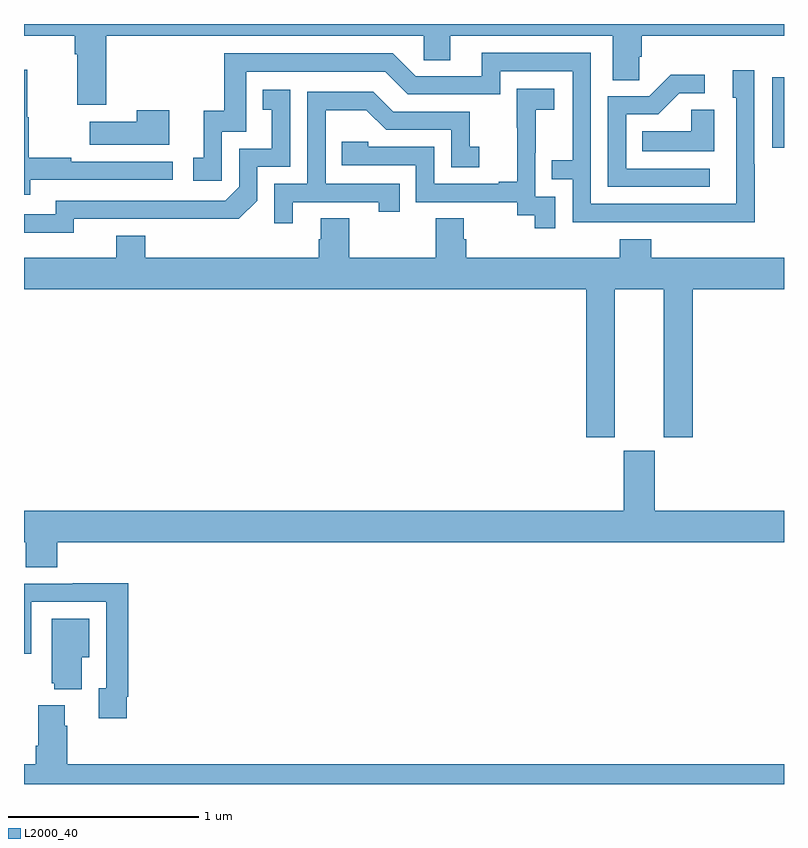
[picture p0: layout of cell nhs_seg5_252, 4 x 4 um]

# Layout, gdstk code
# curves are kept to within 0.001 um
import gdstk
lib = gdstk.Library(unit=1e-6, precision=1e-09)
def R(c, l, rs):  # rectangles x0, y0, x1, y1
    for r in rs: c.add(gdstk.rectangle(r[:2], r[2:], *l))
def P(c, l, *ps):  # polygons
    for p in ps: c.add(gdstk.Polygon(p, *l))
L2000_40 = (2000, 40)

nhs_seg5_252 = lib.new_cell('nhs_seg5_252')
R(nhs_seg5_252, L2000_40, [(128.937,880.149,129,880.518)])
P(nhs_seg5_252, L2000_40, [(125.432,880.736),(127.104,880.736),(127.104,880.609),(127.243,880.609),(127.243,880.736),(128.099,880.736),(128.099,880.504),(128.238,880.504),(128.238,880.627),(128.252,880.627),(128.252,880.736),(129,880.736),(129,880.799),(125,880.799),(125,880.736),(125.267,880.736),(125.267,880.64),(125.279,880.64),(125.279,880.374),(125.432,880.374)],
  [(128.847,880.061),(128.844,880.061),(128.844,880.555),(128.729,880.555),(128.729,880.41),(128.748,880.41),(128.748,879.852),(127.983,879.852),(127.983,880.647),(127.409,880.647),(127.409,880.524),(127.062,880.524),(126.942,880.644),(126.055,880.644),(126.055,880.342),(125.945,880.342),(125.945,880.095),(125.892,880.095),(125.892,879.975),(126.042,879.975),(126.042,880.233),(126.171,880.233),(126.171,880.548),(126.9,880.548),(127.02,880.428),(127.506,880.428),(127.506,880.551),(127.887,880.551),(127.887,880.082),(127.777,880.082),(127.777,879.981),(127.887,879.981),(127.887,879.756),(128.847,879.755)],
  [(125.033,879.978),(125.782,879.978),(125.782,880.074),(125.249,880.074),(125.249,880.094),(125.026,880.094),(125.026,880.308),(125.018,880.308),(125.018,880.558),(125,880.558),(125,879.9),(125.033,879.9)],
  [(128.608,880.038),(128.169,880.038),(128.169,880.323),(128.338,880.323),(128.449,880.434),(128.584,880.434),(128.584,880.532),(128.405,880.532),(128.292,880.419),(128.073,880.419),(128.073,879.942),(128.608,879.942)],
  [(127.797,879.891),(127.692,879.891),(127.692,880.121),(127.694,880.121),(127.694,880.349),(127.792,880.349),(127.792,880.459),(127.594,880.459),(127.594,880.253),(127.595,880.253),(127.595,879.97),(127.499,879.97),(127.499,879.957),(127.158,879.957),(127.158,880.152),(126.813,880.152),(126.813,880.179),(126.673,880.179),(126.673,880.056),(127.062,880.056),(127.062,879.861),(127.596,879.861),(127.596,879.793),(127.689,879.793),(127.689,879.723),(127.797,879.723)],
  [(125.262,879.774),(126.13,879.773),(126.228,879.87),(126.228,880.047),(126.402,880.047),(126.402,880.453),(126.256,880.453),(126.256,880.347),(126.305,880.347),(126.305,880.143),(126.132,880.143),(126.132,879.942),(126.06,879.87),(125.166,879.87),(125.166,879.798),(125,879.798),(125,879.701),(125.262,879.701)],
  [(126.415,879.861),(126.866,879.861),(126.866,879.81),(126.977,879.81),(126.977,879.957),(126.588,879.957),(126.588,880.346),(126.802,880.346),(126.906,880.242),(127.248,880.242),(127.248,880.044),(127.396,880.044),(127.396,880.153),(127.347,880.153),(127.347,880.338),(126.943,880.338),(126.838,880.443),(126.492,880.443),(126.492,879.957),(126.318,879.957),(126.318,879.75),(126.415,879.75)],
  [(128.632,880.349),(128.511,880.349),(128.511,880.234),(128.254,880.234),(128.254,880.13),(128.632,880.13)],
  [(125.764,880.345),(125.594,880.345),(125.594,880.285),(125.345,880.285),(125.345,880.163),(125.764,880.163)],
  [(128.11,879.404),(128.366,879.404),(128.366,878.625),(128.519,878.625),(128.519,879.404),(129,879.404),(129,879.568),(128.3,879.568),(128.3,879.667),(128.135,879.667),(128.135,879.568),(127.328,879.568),(127.328,879.666),(127.315,879.666),(127.315,879.776),(127.168,879.776),(127.168,879.568),(126.711,879.568),(126.711,879.776),(126.563,879.776),(126.563,879.666),(126.551,879.666),(126.551,879.568),(125.639,879.568),(125.639,879.685),(125.486,879.685),(125.486,879.568),(125,879.568),(125,879.404),(127.958,879.404),(127.958,878.625),(128.11,878.625)],
  [(125.174,878.072),(129,878.072),(129,878.236),(128.32,878.236),(128.32,878.553),(128.156,878.553),(128.156,878.236),(125,878.236),(125,878.072),(125.009,878.072),(125.009,877.939),(125.174,877.939)],
  [(125.542,877.258),(125.549,877.258),(125.549,877.856),(125.257,877.856),(125.257,877.854),(125,877.854),(125,877.485),(125.037,877.485),(125.037,877.758),(125.433,877.758),(125.433,877.302),(125.393,877.302),(125.393,877.146),(125.542,877.146)],
  [(125.305,877.466),(125.344,877.466),(125.344,877.669),(125.147,877.669),(125.147,877.329),(125.159,877.329),(125.159,877.298),(125.305,877.298)],
  [(129,876.904),(125.228,876.904),(125.228,877.106),(125.215,877.106),(125.215,877.213),(125.075,877.213),(125.075,877),(125.063,877),(125.063,876.904),(125,876.904),(125,876.799),(129,876.799)])

lib.write_gds('nhs_seg5_252.gds')
